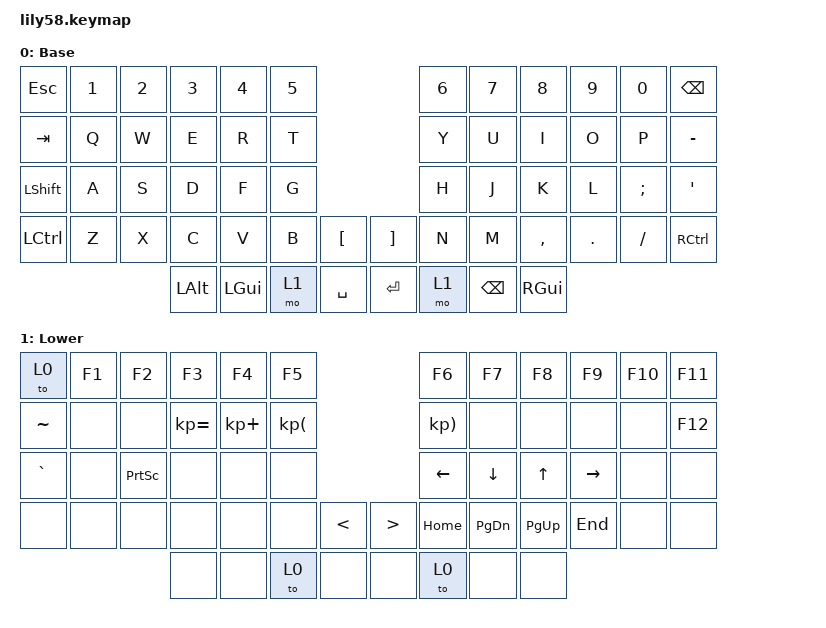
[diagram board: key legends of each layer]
#include <behaviors.dtsi>
#include <dt-bindings/zmk/keys.h>

/ {
    keymap {
        compatible = "zmk,keymap";

        default_layer {
            display-name = "Base";
            bindings = <
&kp ESC    &kp N1  &kp N2  &kp N3    &kp N4    &kp N5                         &kp N6  &kp N7    &kp N8     &kp N9   &kp N0    &kp BACKSPACE
&kp TAB    &kp Q   &kp W   &kp E     &kp R     &kp T                          &kp Y   &kp U     &kp I      &kp O    &kp P     &kp MINUS
&kp LSHFT  &kp A   &kp S   &kp D     &kp F     &kp G                          &kp H   &kp J     &kp K      &kp L    &kp SEMI  &kp SQT
&kp LCTRL  &kp Z   &kp X   &kp C     &kp V     &kp B   &kp LBKT     &kp RBKT  &kp N   &kp M     &kp COMMA  &kp DOT  &kp FSLH  &kp RIGHT_CONTROL
                           &kp LALT  &kp LGUI  &mo 1   &kp SPACE    &kp RET   &mo 1   &kp BSPC  &kp RGUI
            >;
        };

        lower_layer {
            display-name = "Lower";
            bindings = <
&to 0      &kp F1  &kp F2           &kp F3        &kp F4       &kp F5                                                      &kp F6       &kp F7         &kp F8       &kp F9     &kp F10  &kp F11
&kp TILDE  &none   &none            &kp KP_EQUAL  &kp KP_PLUS  &kp KP_LEFT_PARENTHESIS                                     &kp KP_RPAR  &none          &none        &none      &none    &kp F12
&kp GRAVE  &none   &kp PRINTSCREEN  &none         &none        &none                                                       &kp LEFT     &kp DOWN       &kp UP       &kp RIGHT  &none    &none
&none      &none   &none            &none         &none        &none                    &kp LESS_THAN    &kp GREATER_THAN  &kp HOME     &kp PAGE_DOWN  &kp PAGE_UP  &kp END    &none    &none
                                    &none         &none        &to 0                    &none            &none             &to 0        &none          &none
            >;
        };
    };
};
